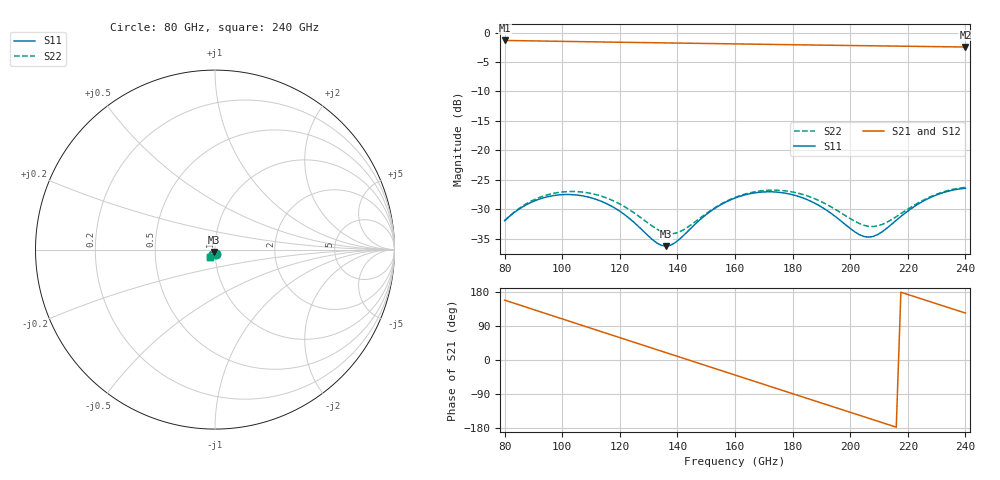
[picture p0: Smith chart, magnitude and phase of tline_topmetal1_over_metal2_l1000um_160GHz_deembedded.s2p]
! Created with skrf 2.2.0 (http://scikit-rf.org).
# GHz S DB R 50.0
! Port[1] = P1
! Port[2] = P2
!freq dBS11 angS11 dBS21 angS21 dBS12 angS12 dBS22 angS22
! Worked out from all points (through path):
!   101 points, 80 GHz to 240 GHz, reference 50 ohm
!   highest |S21| = -1.35 dB at 80 GHz (marker M1); lowest = -2.5 dB at 240 GHz (marker M2)
!   group delay of S21, straight-line fit = 6.84 ps
!   lowest |S11| = -36.3 dB at 136 GHz (marker M3), VSWR 1.03, Z = 49.2 - j1.27 ohm
!   |S11| at or under -10 dB: start of sweep to end of sweep
!   |S22| runs from -34.2 to -26.3 dB; largest |S21 - S12| = 9.3e-14
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80  -31.96 -81.0  -1.35 158.1  -1.35 158.1  -31.94 -83.2
86.4  -29.55 -88.6  -1.40 142.2  -1.40 142.2  -29.41 -89.0
94.4  -27.94 -102.9  -1.46 122.3  -1.46 122.3  -27.62 -102.0
100.8  -27.51 -115.3  -1.51 106.5  -1.51 106.5  -27.04 -113.7
107.2  -27.74 -127.5  -1.55 90.7  -1.55 90.7  -27.10 -125.2
113.6  -28.66 -138.6  -1.60 74.8  -1.60 74.8  -27.78 -135.6
120  -30.34 -146.8  -1.65 59.0  -1.65 59.0  -29.12 -143.5
128  -33.63 -147.4  -1.71 39.3  -1.71 39.3  -31.69 -145.8
134.4  -36.13 -129.6  -1.75 23.5  -1.75 23.5  -33.78 -135.2
136  -36.27 -122.5  -1.76 19.5  -1.76 19.5  -34.07 -130.5
140.8  -35.06 -103.7  -1.80 7.7  -1.80 7.7  -33.82 -115.4
147.2  -32.06 -95.2  -1.84 -8.1  -1.84 -8.1  -31.74 -104.0
160  -28.10 -106.7  -1.93 -39.6  -1.93 -39.6  -28.00 -109.6
168  -27.14 -119.3  -1.99 -59.3  -1.99 -59.3  -26.95 -120.2
174.4  -27.09 -129.8  -2.03 -75.1  -2.03 -75.1  -26.77 -129.4
187.2  -28.85 -147.7  -2.12 -106.5  -2.12 -106.5  -28.12 -145.4
195.2  -31.37 -151.5  -2.17 -126.2  -2.17 -126.2  -30.13 -149.1
204.8  -34.63 -132.9  -2.23 -149.8  -2.23 -149.8  -32.73 -136.5
209.6  -34.29 -115.3  -2.27 -161.5  -2.27 -161.5  -32.82 -123.5
214.4  -32.54 -104.3  -2.30 -173.3  -2.30 -173.3  -31.75 -113.1
227.2  -28.16 -106.5  -2.38 155.3  -2.38 155.3  -28.02 -110.9
240  -26.44 -123.8  -2.46 123.9  -2.46 123.9  -26.28 -125.1
